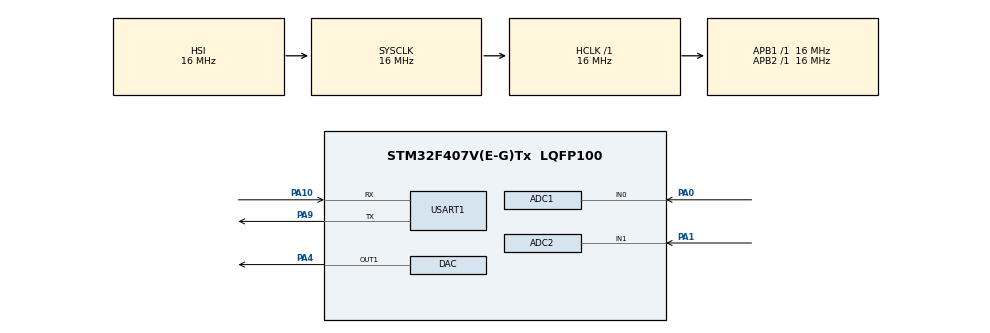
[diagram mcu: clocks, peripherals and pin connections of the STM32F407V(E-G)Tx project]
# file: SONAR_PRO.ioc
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ADC1.Channel-1\#ChannelRegularConversion=ADC_CHANNEL_0
ADC1.ContinuousConvMode=ENABLE
ADC1.EnableAnalogWatchDog=false
ADC1.InjNumberOfConversion=0
ADC1.NbrOfConversion=1
ADC1.NbrOfConversionFlag=1
ADC1.Rank-1\#ChannelRegularConversion=1
ADC1.SamplingTime-1\#ChannelRegularConversion=ADC_SAMPLETIME_84CYCLES
ADC1.master=1
ADC2.Channel-1\#ChannelRegularConversion=ADC_CHANNEL_1
ADC2.NbrOfConversionFlag=1
ADC2.Rank-1\#ChannelRegularConversion=1
ADC2.SamplingTime-1\#ChannelRegularConversion=ADC_SAMPLETIME_3CYCLES
DAC.DAC_Trigger=DAC_TRIGGER_T2_TRGO
DAC.WaveGeneration=DISABLE
Dma.DAC1.0.Direction=DMA_MEMORY_TO_PERIPH
Dma.DAC1.0.FIFOMode=DMA_FIFOMODE_DISABLE
Dma.DAC1.0.Instance=DMA1_Stream5
Dma.DAC1.0.MemDataAlignment=DMA_MDATAALIGN_WORD
Dma.DAC1.0.MemInc=DMA_MINC_ENABLE
Dma.DAC1.0.Mode=DMA_CIRCULAR
Dma.DAC1.0.PeriphDataAlignment=DMA_PDATAALIGN_WORD
Dma.DAC1.0.PeriphInc=DMA_PINC_DISABLE
Dma.DAC1.0.Priority=DMA_PRIORITY_HIGH
Dma.Request0=DAC1
Mcu.Family=STM32F4
Mcu.Name=STM32F407V(E-G)Tx
Mcu.Package=LQFP100
NVIC.DMA1_Stream5_IRQn=true\:0\:0\:false\:false\:true\:false\:true\:true
NVIC.PriorityGroup=NVIC_PRIORITYGROUP_0
NVIC.TIM2_IRQn=true\:0\:0\:false\:false\:true\:true\:true\:true
NVIC.TIM6_DAC_IRQn=true\:0\:0\:false\:false\:true\:true\:true\:true
PA0-WKUP.Signal=ADCx_IN0
PA1.Signal=ADCx_IN1
PA10.Mode=Asynchronous
PA10.Signal=USART1_RX
PA4.Signal=COMP_DAC1_group
PA9.Mode=Asynchronous
PA9.Signal=USART1_TX
ProjectManager.HeapSize=0x200
ProjectManager.StackSize=0x400
ProjectManager.TargetToolchain=STM32CubeIDE
RCC.48MHZClocksFreq_Value=96000000
RCC.AHBFreq_Value=16000000
RCC.APB1Freq_Value=16000000
RCC.APB1TimFreq_Value=16000000
RCC.APB2Freq_Value=16000000
RCC.APB2TimFreq_Value=16000000
RCC.CortexFreq_Value=16000000
RCC.HCLKFreq_Value=16000000
RCC.HSE_VALUE=8000000
RCC.HSI_VALUE=16000000
RCC.LSE_VALUE=32768
RCC.PLLM=8
RCC.PLLN=336
RCC.PLLQ=7
RCC.SYSCLKFreq_VALUE=16000000
RCC.VCOOutputFreq_Value=672000000
SH.ADCx_IN0.0=ADC1_IN0,IN0
SH.ADCx_IN1.0=ADC2_IN1,IN1
SH.COMP_DAC1_group.0=DAC_OUT1,DAC_OUT1
TIM2.Period=24
TIM2.TIM_MasterOutputTrigger=TIM_TRGO_UPDATE
USART1.VirtualMode=VM_ASYNC
VP_TIM2_VS_ClockSourceINT.Mode=Internal
board=STM32F407G-DISC1

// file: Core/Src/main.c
/* USER CODE BEGIN Header */
/* USER CODE END Header */
#include "main.h"

ADC_HandleTypeDef hadc1;
ADC_HandleTypeDef hadc2;

DAC_HandleTypeDef hdac;
DMA_HandleTypeDef hdma_dac1;

TIM_HandleTypeDef htim2;

UART_HandleTypeDef huart1;

/* USER CODE BEGIN PV */
#define SINE_SAMPLES 32

#define FREQ_LOW_DIFFICULTY      30000
#define FREQ_MEDIUM_DIFFICULTY   25000
#define FREQ_HIGH_DIFFICULTY     20000
uint16_t sine_table[SINE_SAMPLES] =
{
    2048, 2447, 2831, 3185,
    3489, 3730, 3892, 4050,
    4095, 4050, 3892, 3730,
    3489, 3185, 2831, 2447,
    2048, 1648, 1264, 910,
    606, 365, 203, 45,
    0, 45, 203, 365,
    606, 910, 1264, 1648
};

uint16_t turbidity_adc = 0;
uint16_t noise_adc = 0;

float turbidity_percent = 0;
float noise_percent = 0;

float difficulty = 0;

uint32_t selected_frequency = 20000;
/* USER CODE END PV */

void SystemClock_Config(void);
static void MX_GPIO_Init(void);
static void MX_DMA_Init(void);
static void MX_ADC1_Init(void);
static void MX_DAC_Init(void);
static void MX_TIM2_Init(void);
static void MX_ADC2_Init(void);
static void MX_USART1_UART_Init(void);
/* USER CODE BEGIN PFP */
void Read_Environment(void);
void Adaptive_Frequency_Algorithm(void);
void Set_Sonar_Frequency(uint32_t frequency);
/* USER CODE END PFP */

int main(void)
{

  /* MCU Configuration--------------------------------------------------------*/

  /* Reset of all peripherals, Initializes the Flash interface and the Systick. */
  HAL_Init();

  /* Configure the system clock */
  SystemClock_Config();

  /* Initialize all configured peripherals */
  MX_GPIO_Init();
  MX_DMA_Init();
  MX_ADC1_Init();
  MX_DAC_Init();
  MX_TIM2_Init();
  MX_ADC2_Init();
  MX_USART1_UART_Init();
  /* USER CODE BEGIN 2 */

  HAL_DAC_Start_DMA(
      &hdac,
      DAC_CHANNEL_1,
      (uint32_t *)sine_table,
      SINE_SAMPLES,
      DAC_ALIGN_12B_R
  );

  /* Start at 20 kHz */

  Set_Sonar_Frequency(20000);

  while (1)
  {
      /* Read both potentiometers */

      Read_Environment();

      /* Run adaptive decision */

      Adaptive_Frequency_Algorithm();

      /* Change DAC frequency */

      Set_Sonar_Frequency(selected_frequency);

      /*
       * Wait before checking environment again.
       *
       * 100 ms is enough for a first prototype.
       */

      HAL_Delay(100);
  }

  /* USER CODE END 2 */

  /* Infinite loop */

}

void SystemClock_Config(void)
{
  RCC_OscInitTypeDef RCC_OscInitStruct = {0};
  RCC_ClkInitTypeDef RCC_ClkInitStruct = {0};

  /** Configure the main internal regulator output voltage
  */
  __HAL_RCC_PWR_CLK_ENABLE();
  __HAL_PWR_VOLTAGESCALING_CONFIG(PWR_REGULATOR_VOLTAGE_SCALE1);

  /** Initializes the RCC Oscillators according to the specified parameters
  * in the RCC_OscInitTypeDef structure.
  */
  RCC_OscInitStruct.OscillatorType = RCC_OSCILLATORTYPE_HSI;
  RCC_OscInitStruct.HSIState = RCC_HSI_ON;
  RCC_OscInitStruct.HSICalibrationValue = RCC_HSICALIBRATION_DEFAULT;
  RCC_OscInitStruct.PLL.PLLState = RCC_PLL_NONE;
  if (HAL_RCC_OscConfig(&RCC_OscInitStruct) != HAL_OK)
  {
    Error_Handler();
  }

  /** Initializes the CPU, AHB and APB buses clocks
  */
  RCC_ClkInitStruct.ClockType = RCC_CLOCKTYPE_HCLK|RCC_CLOCKTYPE_SYSCLK
                              |RCC_CLOCKTYPE_PCLK1|RCC_CLOCKTYPE_PCLK2;
  RCC_ClkInitStruct.SYSCLKSource = RCC_SYSCLKSOURCE_HSI;
  RCC_ClkInitStruct.AHBCLKDivider = RCC_SYSCLK_DIV1;
  RCC_ClkInitStruct.APB1CLKDivider = RCC_HCLK_DIV1;
  RCC_ClkInitStruct.APB2CLKDivider = RCC_HCLK_DIV1;

  if (HAL_RCC_ClockConfig(&RCC_ClkInitStruct, FLASH_LATENCY_0) != HAL_OK)
  {
    Error_Handler();
  }
}

static void MX_ADC1_Init(void)
{

  ADC_ChannelConfTypeDef sConfig = {0};

  /** Configure the global features of the ADC (Clock, Resolution, Data Alignment and number of conversion)
  */
  hadc1.Instance = ADC1;
  hadc1.Init.ClockPrescaler = ADC_CLOCK_SYNC_PCLK_DIV2;
  hadc1.Init.Resolution = ADC_RESOLUTION_12B;
  hadc1.Init.ScanConvMode = DISABLE;
  hadc1.Init.ContinuousConvMode = ENABLE;
  hadc1.Init.DiscontinuousConvMode = DISABLE;
  hadc1.Init.ExternalTrigConvEdge = ADC_EXTERNALTRIGCONVEDGE_NONE;
  hadc1.Init.ExternalTrigConv = ADC_SOFTWARE_START;
  hadc1.Init.DataAlign = ADC_DATAALIGN_RIGHT;
  hadc1.Init.NbrOfConversion = 1;
  hadc1.Init.DMAContinuousRequests = DISABLE;
  hadc1.Init.EOCSelection = ADC_EOC_SINGLE_CONV;
  if (HAL_ADC_Init(&hadc1) != HAL_OK)
  {
    Error_Handler();
  }

  /** Configure for the selected ADC regular channel its corresponding rank in the sequencer and its sample time.
  */
  sConfig.Channel = ADC_CHANNEL_0;
  sConfig.Rank = 1;
  sConfig.SamplingTime = ADC_SAMPLETIME_84CYCLES;
  if (HAL_ADC_ConfigChannel(&hadc1, &sConfig) != HAL_OK)
  {
    Error_Handler();
  }

}

static void MX_ADC2_Init(void)
{

  ADC_ChannelConfTypeDef sConfig = {0};

  /** Configure the global features of the ADC (Clock, Resolution, Data Alignment and number of conversion)
  */
  hadc2.Instance = ADC2;
  hadc2.Init.ClockPrescaler = ADC_CLOCK_SYNC_PCLK_DIV2;
  hadc2.Init.Resolution = ADC_RESOLUTION_12B;
  hadc2.Init.ScanConvMode = DISABLE;
  hadc2.Init.ContinuousConvMode = DISABLE;
  hadc2.Init.DiscontinuousConvMode = DISABLE;
  hadc2.Init.ExternalTrigConvEdge = ADC_EXTERNALTRIGCONVEDGE_NONE;
  hadc2.Init.ExternalTrigConv = ADC_SOFTWARE_START;
  hadc2.Init.DataAlign = ADC_DATAALIGN_RIGHT;
  hadc2.Init.NbrOfConversion = 1;
  hadc2.Init.DMAContinuousRequests = DISABLE;
  hadc2.Init.EOCSelection = ADC_EOC_SINGLE_CONV;
  if (HAL_ADC_Init(&hadc2) != HAL_OK)
  {
    Error_Handler();
  }

  /** Configure for the selected ADC regular channel its corresponding rank in the sequencer and its sample time.
  */
  sConfig.Channel = ADC_CHANNEL_1;
  sConfig.Rank = 1;
  sConfig.SamplingTime = ADC_SAMPLETIME_3CYCLES;
  if (HAL_ADC_ConfigChannel(&hadc2, &sConfig) != HAL_OK)
  {
    Error_Handler();
  }

}

static void MX_DAC_Init(void)
{

  DAC_ChannelConfTypeDef sConfig = {0};

  /** DAC Initialization
  */
  hdac.Instance = DAC;
  if (HAL_DAC_Init(&hdac) != HAL_OK)
  {
    Error_Handler();
  }

  /** DAC channel OUT1 config
  */
  sConfig.DAC_Trigger = DAC_TRIGGER_T2_TRGO;
  sConfig.DAC_OutputBuffer = DAC_OUTPUTBUFFER_ENABLE;
  if (HAL_DAC_ConfigChannel(&hdac, &sConfig, DAC_CHANNEL_1) != HAL_OK)
  {
    Error_Handler();
  }

}

static void MX_TIM2_Init(void)
{

  TIM_ClockConfigTypeDef sClockSourceConfig = {0};
  TIM_MasterConfigTypeDef sMasterConfig = {0};

  htim2.Instance = TIM2;
  htim2.Init.Prescaler = 0;
  htim2.Init.CounterMode = TIM_COUNTERMODE_UP;
  htim2.Init.Period = 24;
  htim2.Init.ClockDivision = TIM_CLOCKDIVISION_DIV1;
  htim2.Init.AutoReloadPreload = TIM_AUTORELOAD_PRELOAD_DISABLE;
  if (HAL_TIM_Base_Init(&htim2) != HAL_OK)
  {
    Error_Handler();
  }
  sClockSourceConfig.ClockSource = TIM_CLOCKSOURCE_INTERNAL;
  if (HAL_TIM_ConfigClockSource(&htim2, &sClockSourceConfig) != HAL_OK)
  {
    Error_Handler();
  }
  sMasterConfig.MasterOutputTrigger = TIM_TRGO_UPDATE;
  sMasterConfig.MasterSlaveMode = TIM_MASTERSLAVEMODE_DISABLE;
  if (HAL_TIMEx_MasterConfigSynchronization(&htim2, &sMasterConfig) != HAL_OK)
  {
    Error_Handler();
  }

}

static void MX_USART1_UART_Init(void)
{

  huart1.Instance = USART1;
  huart1.Init.BaudRate = 115200;
  huart1.Init.WordLength = UART_WORDLENGTH_8B;
  huart1.Init.StopBits = UART_STOPBITS_1;
  huart1.Init.Parity = UART_PARITY_NONE;
  huart1.Init.Mode = UART_MODE_TX_RX;
  huart1.Init.HwFlowCtl = UART_HWCONTROL_NONE;
  huart1.Init.OverSampling = UART_OVERSAMPLING_16;
  if (HAL_UART_Init(&huart1) != HAL_OK)
  {
    Error_Handler();
  }

}

static void MX_DMA_Init(void)
{

  /* DMA controller clock enable */
  __HAL_RCC_DMA1_CLK_ENABLE();

  /* DMA interrupt init */
  /* DMA1_Stream5_IRQn interrupt configuration */
  HAL_NVIC_SetPriority(DMA1_Stream5_IRQn, 0, 0);
  HAL_NVIC_EnableIRQ(DMA1_Stream5_IRQn);

}

static void MX_GPIO_Init(void)
{

  /* GPIO Ports Clock Enable */
  __HAL_RCC_GPIOA_CLK_ENABLE();

}

/* USER CODE BEGIN 4 */
void Read_Environment(void)
{
    /* Start ADC conversion sequence */
    HAL_ADC_Start(&hadc1);

    /* Rank 1 = ADC Channel 0 = Turbidity */
    HAL_ADC_PollForConversion(&hadc1, 1000);

    turbidity_adc = HAL_ADC_GetValue(&hadc1);

    /* Rank 2 = ADC Channel 1 = Ambient Noise */
    HAL_ADC_PollForConversion(&hadc1, 1000);

    noise_adc = HAL_ADC_GetValue(&hadc1);

    HAL_ADC_Stop(&hadc1);

    /* Convert ADC values 0-4095 into percentage */

    turbidity_percent =
        ((float)turbidity_adc / 4095.0f) * 100.0f;

    noise_percent =
        ((float)noise_adc / 4095.0f) * 100.0f;
}

void Adaptive_Frequency_Algorithm(void)
{
    /*
     * Environmental Difficulty Score
     *
     * Turbidity = 60% importance
     * Noise     = 40% importance
     */

    difficulty =
        (0.6f * turbidity_percent) +
        (0.4f * noise_percent);

    if (difficulty < 33.0f)
    {
        selected_frequency =
            FREQ_LOW_DIFFICULTY;       // 30 kHz
    }

    else if (difficulty < 66.0f)
    {
        selected_frequency =
            FREQ_MEDIUM_DIFFICULTY;    // 25 kHz
    }

    else
    {
        selected_frequency =
            FREQ_HIGH_DIFFICULTY;      // 20 kHz
    }
}

void Set_Sonar_Frequency(uint32_t frequency)
{
    uint32_t sample_rate;
    uint32_t timer_clock;
    uint32_t timer_period;

    /*
     * One complete sine wave contains 32 samples
     */

    sample_rate =
        frequency * SINE_SAMPLES;

    /*
     * Your current TIM2 clock = 16 MHz
     */

    timer_clock = 16000000;

    /*
     * Timer equation:
     *
     * F_update =
     *
     * Timer_Clock
     * --------------------
     * (PSC+1)(ARR+1)
     *
     * PSC = 0
     *
     * Therefore:
     *
     * ARR =
     *
     * Timer_Clock
     * ---------------- - 1
     * Sample_Rate
     */

    timer_period =
        (timer_clock / sample_rate) - 1;

    /* Stop TIM2 before changing frequency */

    HAL_TIM_Base_Stop(&htim2);

    /* Set new Auto Reload Register */

    __HAL_TIM_SET_AUTORELOAD(
        &htim2,
        timer_period
    );

    /* Reset counter */

    __HAL_TIM_SET_COUNTER(
        &htim2,
        0
    );

    /* Restart TIM2 */

    HAL_TIM_Base_Start(&htim2);
}
/* USER CODE END 4 */

void Error_Handler(void)
{
}
